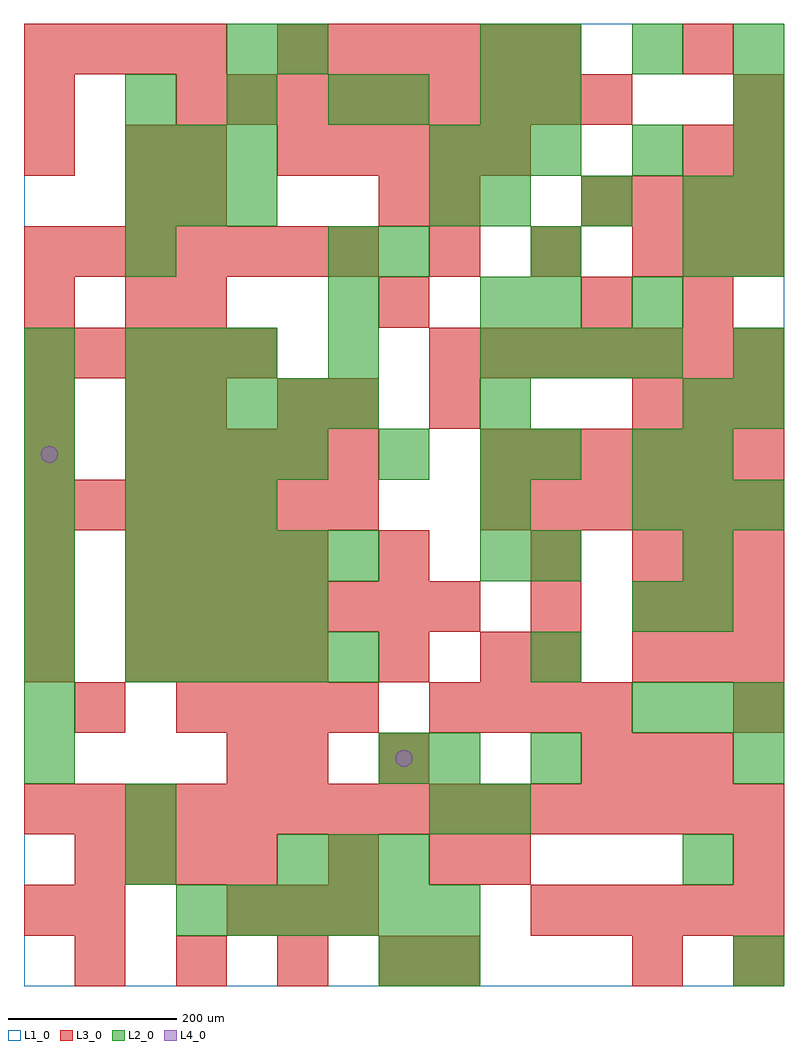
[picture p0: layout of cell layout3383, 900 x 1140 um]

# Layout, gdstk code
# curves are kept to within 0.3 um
import gdstk
lib = gdstk.Library(unit=1e-6, precision=1e-09)
def R(c, l, rs):  # rectangles x0, y0, x1, y1
    for r in rs: c.add(gdstk.rectangle(r[:2], r[2:], *l))
def A(c, l, x, y, w, h, nx, ny, dx, dy):  # array of equal rectangles
    R(c, l, [(x+i*dx, y+j*dy, x+i*dx+w, y+j*dy+h) for i in range(nx) for j in range(ny)])
def P(c, l, *ps):  # polygons
    for p in ps: c.add(gdstk.Polygon(p, *l))
L1_0 = (1, 0)
L2_0 = (2, 0)
L3_0 = (3, 0)
L4_0 = (4, 0)

layout3383 = lib.new_cell('layout3383')
R(layout3383, L1_0, [(0,0,900,1140)])
A(layout3383, L2_0, 180, 60, 60, 60, 6, 1, 60, 0)
A(layout3383, L2_0, 300, 120, 60, 60, 3, 1, 60, 0)
A(layout3383, L2_0, 0, 240, 60, 60, 1, 9, 0, 60)
A(layout3383, L2_0, 600, 240, 60, 60, 1, 4, 0, 120)
A(layout3383, L2_0, 720, 300, 60, 60, 3, 2, 60, 240)
A(layout3383, L2_0, 120, 360, 60, 60, 5, 2, 60, 120)
A(layout3383, L2_0, 120, 420, 60, 60, 4, 2, 60, 180)
A(layout3383, L2_0, 720, 420, 60, 60, 1, 4, 0, 180)
A(layout3383, L2_0, 540, 480, 60, 60, 1, 4, 0, 60)
A(layout3383, L2_0, 120, 540, 60, 60, 3, 3, 60, 180)
A(layout3383, L2_0, 120, 660, 60, 60, 5, 1, 60, 0)
A(layout3383, L2_0, 360, 720, 60, 60, 1, 3, 0, 60)
A(layout3383, L2_0, 540, 720, 60, 60, 4, 1, 60, 0)
A(layout3383, L2_0, 420, 840, 60, 60, 3, 1, 180, 0)
A(layout3383, L2_0, 840, 840, 60, 60, 1, 4, 0, 60)
A(layout3383, L2_0, 540, 900, 60, 60, 3, 1, 120, 0)
A(layout3383, L2_0, 120, 960, 60, 60, 3, 1, 60, 0)
A(layout3383, L2_0, 480, 960, 60, 60, 3, 1, 60, 0)
A(layout3383, L2_0, 120, 1020, 60, 60, 3, 1, 120, 0)
A(layout3383, L2_0, 600, 1080, 60, 60, 3, 1, 120, 0)
R(layout3383, L2_0, [(420,0,480,60), (480,0,540,60), (840,0,900,60), (120,120,180,180), (780,120,840,180), (120,180,180,240), (480,180,540,240), (540,180,600,240), (420,240,480,300), (480,240,540,300), (840,240,900,300), (780,420,840,480), (780,480,840,540), (420,600,480,660), (780,600,840,660), (780,660,840,720), (840,660,900,720), (840,720,900,780), (540,780,600,840), (600,780,660,840), (120,840,180,900), (480,900,540,960), (420,1020,480,1080), (540,1020,600,1080), (600,1020,660,1080), (240,1080,300,1140), (300,1080,360,1140), (540,1080,600,1140)])
A(layout3383, L3_0, 60, 0, 60, 60, 4, 1, 120, 0)
A(layout3383, L3_0, 240, 60, 60, 60, 3, 1, 60, 0)
A(layout3383, L3_0, 600, 60, 60, 60, 5, 1, 60, 0)
A(layout3383, L3_0, 60, 120, 60, 60, 4, 1, 60, 0)
A(layout3383, L3_0, 0, 180, 60, 60, 15, 1, 60, 0)
A(layout3383, L3_0, 420, 240, 60, 60, 1, 3, 0, 120)
A(layout3383, L3_0, 660, 240, 60, 60, 3, 1, 60, 0)
A(layout3383, L3_0, 180, 300, 60, 60, 4, 1, 60, 0)
A(layout3383, L3_0, 480, 300, 60, 60, 4, 1, 60, 0)
A(layout3383, L3_0, 0, 360, 60, 60, 1, 3, 0, 60)
A(layout3383, L3_0, 120, 360, 60, 60, 4, 2, 60, 120)
A(layout3383, L3_0, 600, 360, 60, 60, 1, 3, 0, 60)
A(layout3383, L3_0, 720, 360, 60, 60, 3, 3, 60, 60)
A(layout3383, L3_0, 120, 420, 60, 60, 7, 1, 60, 0)
A(layout3383, L3_0, 0, 540, 60, 60, 7, 2, 60, 300)
A(layout3383, L3_0, 540, 540, 60, 60, 6, 2, 60, 60)
A(layout3383, L3_0, 120, 600, 60, 60, 5, 1, 60, 0)
A(layout3383, L3_0, 120, 660, 60, 60, 1, 3, 0, 120)
A(layout3383, L3_0, 720, 660, 60, 60, 3, 1, 60, 0)
A(layout3383, L3_0, 0, 720, 60, 60, 5, 1, 60, 0)
A(layout3383, L3_0, 480, 720, 60, 60, 7, 1, 60, 0)
A(layout3383, L3_0, 180, 780, 60, 60, 3, 1, 240, 0)
A(layout3383, L3_0, 480, 840, 60, 60, 3, 1, 120, 0)
A(layout3383, L3_0, 780, 840, 60, 60, 1, 3, 0, 120)
A(layout3383, L3_0, 660, 900, 60, 60, 4, 1, 60, 0)
A(layout3383, L3_0, 300, 960, 60, 60, 5, 1, 60, 0)
A(layout3383, L3_0, 180, 1020, 60, 60, 9, 1, 60, 0)
A(layout3383, L3_0, 0, 1080, 60, 60, 4, 1, 60, 0)
A(layout3383, L3_0, 300, 1080, 60, 60, 6, 1, 60, 0)
R(layout3383, L3_0, [(480,0,540,60), (720,0,780,60), (840,0,900,60), (0,60,60,120), (60,60,120,120), (360,120,420,180), (480,120,540,180), (540,120,600,180), (840,120,900,180), (240,240,300,300), (300,240,360,300), (60,300,120,360), (840,300,900,360), (540,360,600,420), (0,600,60,660), (0,660,60,720), (180,660,240,720), (300,660,360,720), (360,660,420,720), (480,660,540,720), (0,780,60,840), (780,780,840,840), (840,840,900,900), (180,900,240,960), (420,900,480,960), (480,900,540,960), (0,960,60,1020), (120,960,180,1020), (180,960,240,1020), (840,960,900,1020), (0,1020,60,1080), (840,1020,900,1080)])
P(layout3383, L4_0, [(40,630),(39.239,633.827),(37.071,637.071),(33.827,639.239),(30,640),(26.173,639.239),(22.929,637.071),(20.761,633.827),(20,630),(20.761,626.173),(22.929,622.929),(26.173,620.761),(30,620),(33.827,620.761),(37.071,622.929),(39.239,626.173)],
  [(460,270),(459.239,273.827),(457.071,277.071),(453.827,279.239),(450,280),(446.173,279.239),(442.929,277.071),(440.761,273.827),(440,270),(440.761,266.173),(442.929,262.929),(446.173,260.761),(450,260),(453.827,260.761),(457.071,262.929),(459.239,266.173)])

lib.write_gds('layout3383.gds')
